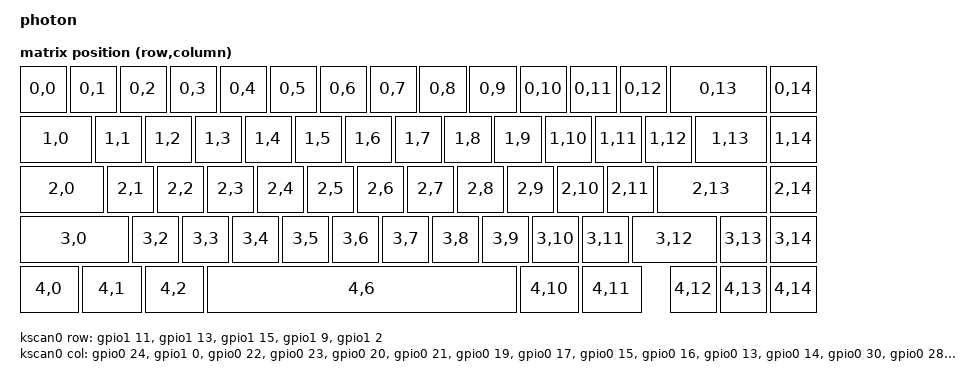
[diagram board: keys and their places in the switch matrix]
/*
 * Copyright (c) 2024 CannonKeys LLC
 *
 * SPDX-License-Identifier: MIT
 */

/dts-v1/;
#include <nordic/nrf52840_qiaa.dtsi>

#include <dt-bindings/led/led.h>
#include <dt-bindings/zmk/matrix_transform.h>
#include <physical_layouts.dtsi>

#include "photon-pinctrl.dtsi"

/ {
    model = "photon";
    compatible = "cannonkeys,photon";

    chosen {
        zephyr,code-partition = &code_partition;
        zephyr,sram = &sram0;
        zephyr,flash = &flash0;
        zephyr,console = &cdc_acm_uart;
        zmk,battery = &vbatt;
        zmk,kscan = &kscan0;
        zmk,physical-layout = &physical_layout0;
        zmk,underglow = &led_strip;
    };

        physical_layout0: physical_layout_0 {
        compatible = "zmk,physical-layout";
        display-name = "Default Layout";

        kscan = <&kscan0>;
        transform = <&keymap_transform_0>;

        keys  //                     w   h    x    y     rot    rx    ry
            = <&key_physical_attrs 100 100    0    0       0     0     0>
            , <&key_physical_attrs 100 100  100    0       0     0     0>
            , <&key_physical_attrs 100 100  200    0       0     0     0>
            , <&key_physical_attrs 100 100  300    0       0     0     0>
            , <&key_physical_attrs 100 100  400    0       0     0     0>
            , <&key_physical_attrs 100 100  500    0       0     0     0>
            , <&key_physical_attrs 100 100  600    0       0     0     0>
            , <&key_physical_attrs 100 100  700    0       0     0     0>
            , <&key_physical_attrs 100 100  800    0       0     0     0>
            , <&key_physical_attrs 100 100  900    0       0     0     0>
            , <&key_physical_attrs 100 100 1000    0       0     0     0>
            , <&key_physical_attrs 100 100 1100    0       0     0     0>
            , <&key_physical_attrs 100 100 1200    0       0     0     0>
            , <&key_physical_attrs 200 100 1300    0       0     0     0>
            , <&key_physical_attrs 100 100 1500    0       0     0     0>
            , <&key_physical_attrs 150 100    0  100       0     0     0>
            , <&key_physical_attrs 100 100  150  100       0     0     0>
            , <&key_physical_attrs 100 100  250  100       0     0     0>
            , <&key_physical_attrs 100 100  350  100       0     0     0>
            , <&key_physical_attrs 100 100  450  100       0     0     0>
            , <&key_physical_attrs 100 100  550  100       0     0     0>
            , <&key_physical_attrs 100 100  650  100       0     0     0>
            , <&key_physical_attrs 100 100  750  100       0     0     0>
            , <&key_physical_attrs 100 100  850  100       0     0     0>
            , <&key_physical_attrs 100 100  950  100       0     0     0>
            , <&key_physical_attrs 100 100 1050  100       0     0     0>
            , <&key_physical_attrs 100 100 1150  100       0     0     0>
            , <&key_physical_attrs 100 100 1250  100       0     0     0>
            , <&key_physical_attrs 150 100 1350  100       0     0     0>
            , <&key_physical_attrs 100 100 1500  100       0     0     0>
            , <&key_physical_attrs 175 100    0  200       0     0     0>
            , <&key_physical_attrs 100 100  175  200       0     0     0>
            , <&key_physical_attrs 100 100  275  200       0     0     0>
            , <&key_physical_attrs 100 100  375  200       0     0     0>
            , <&key_physical_attrs 100 100  475  200       0     0     0>
            , <&key_physical_attrs 100 100  575  200       0     0     0>
            , <&key_physical_attrs 100 100  675  200       0     0     0>
            , <&key_physical_attrs 100 100  775  200       0     0     0>
            , <&key_physical_attrs 100 100  875  200       0     0     0>
            , <&key_physical_attrs 100 100  975  200       0     0     0>
            , <&key_physical_attrs 100 100 1075  200       0     0     0>
            , <&key_physical_attrs 100 100 1175  200       0     0     0>
            , <&key_physical_attrs 225 100 1275  200       0     0     0>
            , <&key_physical_attrs 100 100 1500  200       0     0     0>
            , <&key_physical_attrs 225 100    0  300       0     0     0>
            , <&key_physical_attrs 100 100  225  300       0     0     0>
            , <&key_physical_attrs 100 100  325  300       0     0     0>
            , <&key_physical_attrs 100 100  425  300       0     0     0>
            , <&key_physical_attrs 100 100  525  300       0     0     0>
            , <&key_physical_attrs 100 100  625  300       0     0     0>
            , <&key_physical_attrs 100 100  725  300       0     0     0>
            , <&key_physical_attrs 100 100  825  300       0     0     0>
            , <&key_physical_attrs 100 100  925  300       0     0     0>
            , <&key_physical_attrs 100 100 1025  300       0     0     0>
            , <&key_physical_attrs 100 100 1125  300       0     0     0>
            , <&key_physical_attrs 175 100 1225  300       0     0     0>
            , <&key_physical_attrs 100 100 1400  300       0     0     0>
            , <&key_physical_attrs 100 100 1500  300       0     0     0>
            , <&key_physical_attrs 125 100    0  400       0     0     0>
            , <&key_physical_attrs 125 100  125  400       0     0     0>
            , <&key_physical_attrs 125 100  250  400       0     0     0>
            , <&key_physical_attrs 625 100  375  400       0     0     0>
            , <&key_physical_attrs 125 100 1000  400       0     0     0>
            , <&key_physical_attrs 125 100 1125  400       0     0     0>
            , <&key_physical_attrs 100 100 1300  400       0     0     0>
            , <&key_physical_attrs 100 100 1400  400       0     0     0>
            , <&key_physical_attrs 100 100 1500  400       0     0     0>
            ;
    };

    keymap_transform_0: keymap_transform_0 {
        compatible = "zmk,matrix-transform";
        columns = <15>;
        rows = <5>;
        map = <
RC(0,0) RC(0,1) RC(0,2) RC(0,3) RC(0,4) RC(0,5) RC(0,6) RC(0,7) RC(0,8) RC(0,9) RC(0,10) RC(0,11) RC(0,12) RC(0,13) RC(0,14)
RC(1,0) RC(1,1) RC(1,2) RC(1,3) RC(1,4) RC(1,5) RC(1,6) RC(1,7) RC(1,8) RC(1,9) RC(1,10) RC(1,11) RC(1,12) RC(1,13) RC(1,14)
RC(2,0) RC(2,1) RC(2,2) RC(2,3) RC(2,4) RC(2,5) RC(2,6) RC(2,7) RC(2,8) RC(2,9) RC(2,10) RC(2,11)          RC(2,13) RC(2,14)
RC(3,0)         RC(3,2) RC(3,3) RC(3,4) RC(3,5) RC(3,6) RC(3,7) RC(3,8) RC(3,9) RC(3,10) RC(3,11) RC(3,12) RC(3,13) RC(3,14)
RC(4,0) RC(4,1) RC(4,2)                         RC(4,6)                         RC(4,10) RC(4,11) RC(4,12) RC(4,13) RC(4,14)
        >;
    };

    kscan0: kscan {
        compatible = "zmk,kscan-gpio-matrix";
        wakeup-source;
        label = "KSCAN";

        diode-direction = "col2row";
        row-gpios
            = <&gpio1 11 (GPIO_ACTIVE_HIGH | GPIO_PULL_DOWN)>
            , <&gpio1 13 (GPIO_ACTIVE_HIGH | GPIO_PULL_DOWN)>
            , <&gpio1 15 (GPIO_ACTIVE_HIGH | GPIO_PULL_DOWN)>
            , <&gpio1  9 (GPIO_ACTIVE_HIGH | GPIO_PULL_DOWN)>
            , <&gpio1  2 (GPIO_ACTIVE_HIGH | GPIO_PULL_DOWN)>
            ;
        col-gpios
            = <&gpio0 24 GPIO_ACTIVE_HIGH>
            , <&gpio1  0 GPIO_ACTIVE_HIGH>
            , <&gpio0 22 GPIO_ACTIVE_HIGH>
            , <&gpio0 23 GPIO_ACTIVE_HIGH>
            , <&gpio0 20 GPIO_ACTIVE_HIGH>
            , <&gpio0 21 GPIO_ACTIVE_HIGH>
            , <&gpio0 19 GPIO_ACTIVE_HIGH>
            , <&gpio0 17 GPIO_ACTIVE_HIGH>
            , <&gpio0 15 GPIO_ACTIVE_HIGH>
            , <&gpio0 16 GPIO_ACTIVE_HIGH>
            , <&gpio0 13 GPIO_ACTIVE_HIGH>
            , <&gpio0 14 GPIO_ACTIVE_HIGH>
            , <&gpio0 30 GPIO_ACTIVE_HIGH>
            , <&gpio0 28 GPIO_ACTIVE_HIGH>
            , <&gpio0  2 GPIO_ACTIVE_HIGH>
            ;
    };

    aliases {
        led-red = &red_led;
        led-blue = &blue_led;
    };

    leds {
        compatible = "gpio-leds";
        blue_led: led_0 {
            gpios = <&gpio1 4 GPIO_ACTIVE_HIGH>;
            label = "Blue LED (Power On)";
        };
        red_led: led_1 {
            gpios = <&gpio1 6 GPIO_ACTIVE_HIGH>;
            label = "Red LED (Power Low)";
        };
    };

    ext-power {
        compatible = "zmk,ext-power-generic";
        label = "EXT_POWER";
        control-gpios = <&gpio0 29 GPIO_ACTIVE_HIGH>;
    };

    vbatt: vbatt {
        compatible = "zmk,battery-nrf-vddh";
        label = "BATTERY";
    };

};

&adc {
    status = "okay";
};

&gpiote {
    status = "okay";
};

&gpio0 {
    status = "okay";
};

&gpio1 {
    status = "okay";
};

&spi3 {
    compatible = "nordic,nrf-spim";

    pinctrl-0 = <&spi3_default>;
    pinctrl-1 = <&spi3_sleep>;
    pinctrl-names = "default", "sleep";
    status = "okay";

    led_strip: ws2812@0 {
        compatible = "worldsemi,ws2812-spi";
        label = "WS2812";

        /* SPI */
        reg = <0>; /* ignored, but necessary for SPI bindings */
        spi-max-frequency = <4000000>;

        /* WS2812 */
        chain-length = <16>; /* LED strip length */
        spi-one-frame = <0x70>;
        spi-zero-frame = <0x40>;
        color-mapping = <LED_COLOR_ID_GREEN LED_COLOR_ID_RED LED_COLOR_ID_BLUE>;
    };
};

zephyr_udc0: &usbd {
    status = "okay";
};


&flash0 {
    /*
     * For more information, see:
     * http://docs.zephyrproject.org/latest/devices/dts/flash_partitions.html
     */
    partitions {
        compatible = "fixed-partitions";
        #address-cells = <1>;
        #size-cells = <1>;

        sd_partition: partition@0 {
            label = "mbr";
            reg = <0x00000000 0x00001000>;
        };

        code_partition: partition@1000 {
            label = "code_partition";
            reg = <0x00001000 0x000d3000>;
        };

        /*
         * The flash starting at 0x000d4000 and ending at
         * 0x000f3fff is reserved for use by the application.
         */

        /*
         * Storage partition will be used by FCB/LittleFS/NVS
         * if enabled.
         */
        storage_partition: partition@d4000 {
            label = "storage";
            reg = <0x000d4000 0x00020000>;
        };

        boot_partition: partition@f4000 {
            label = "adafruit_boot";
            reg = <0x000f4000 0x0000c000>;
        };
    };
};
